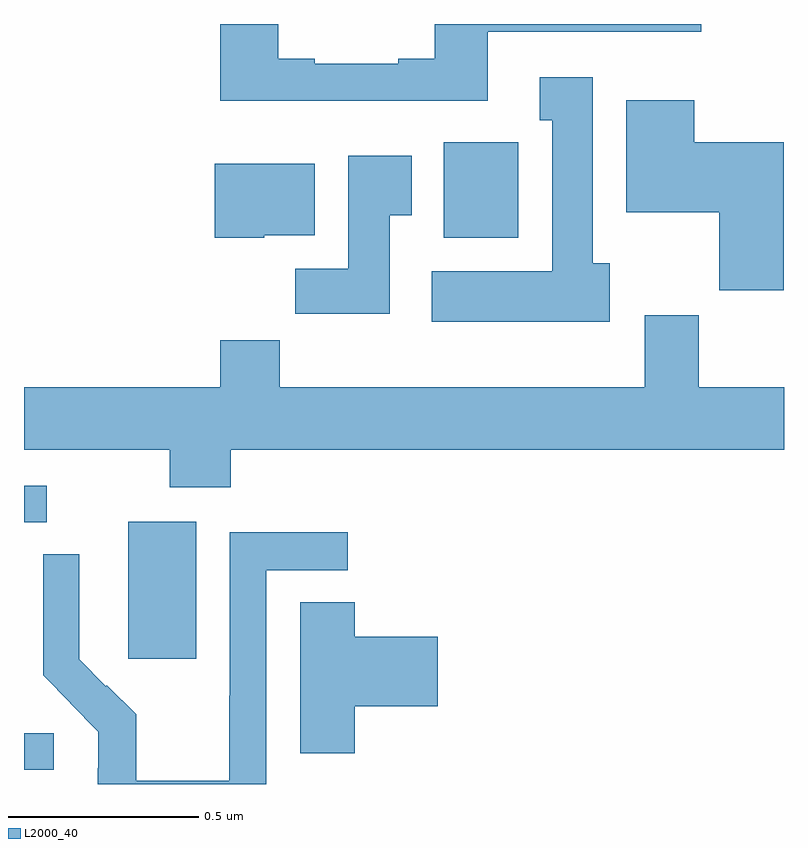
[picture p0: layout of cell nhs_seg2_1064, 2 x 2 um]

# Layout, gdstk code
import gdstk
lib = gdstk.Library(unit=1e-6, precision=1e-09)
def R(c, l, rs):  # rectangles x0, y0, x1, y1
    for r in rs: c.add(gdstk.rectangle(r[:2], r[2:], *l))
def P(c, l, *ps):  # polygons
    for p in ps: c.add(gdstk.Polygon(p, *l))
L2000_40 = (2000, 40)

nhs_seg2_1064 = lib.new_cell('nhs_seg2_1064')
R(nhs_seg2_1064, L2000_40, [(124,602.837,124.078,602.934), (124.274,603.129,124.453,603.49), (124,603.489,124.06,603.585), (125.105,604.238,125.301,604.489)])
P(nhs_seg2_1064, L2000_40, [(125.221,604.779),(125.782,604.779),(125.782,604.8),(125.081,604.8),(125.081,604.708),(124.985,604.708),(124.985,604.695),(124.765,604.695),(124.765,604.708),(124.669,604.708),(124.669,604.8),(124.517,604.8),(124.517,604.598),(125.221,604.598)],
  [(125.542,604.17),(125.497,604.17),(125.497,604.66),(125.357,604.66),(125.357,604.547),(125.39,604.547),(125.39,604.15),(125.073,604.15),(125.073,604.016),(125.542,604.016)],
  [(125.999,604.489),(125.764,604.489),(125.764,604.6),(125.585,604.6),(125.585,604.304),(125.83,604.304),(125.83,604.099),(125.999,604.099)],
  [(124.963,604.297),(125.02,604.297),(125.02,604.453),(124.853,604.453),(124.853,604.156),(124.714,604.156),(124.714,604.038),(124.963,604.038)],
  [(124.632,604.244),(124.765,604.244),(124.765,604.432),(124.502,604.432),(124.502,604.238),(124.632,604.238)],
  [(124.544,603.68),(126,603.68),(126,603.844),(125.776,603.844),(125.776,604.034),(125.633,604.034),(125.633,603.844),(124.673,603.844),(124.673,603.968),(124.517,603.968),(124.517,603.844),(124,603.844),(124,603.68),(124.384,603.68),(124.384,603.581),(124.544,603.581)],
  [(124.638,603.363),(124.852,603.363),(124.852,603.462),(124.542,603.462),(124.542,603.032),(124.54,603.032),(124.54,602.809),(124.295,602.809),(124.295,602.983),(124.218,603.06),(124.215,603.057),(124.145,603.128),(124.145,603.25),(124.146,603.25),(124.146,603.404),(124.05,603.404),(124.05,603.086),(124.123,603.013),(124.122,603.012),(124.196,602.938),(124.196,602.841),(124.194,602.841),(124.194,602.8),(124.638,602.8)],
  [(124.871,603.005),(125.089,603.005),(125.089,603.188),(124.871,603.188),(124.871,603.278),(124.727,603.278),(124.727,602.881),(124.871,602.881)])

lib.write_gds('nhs_seg2_1064.gds')
